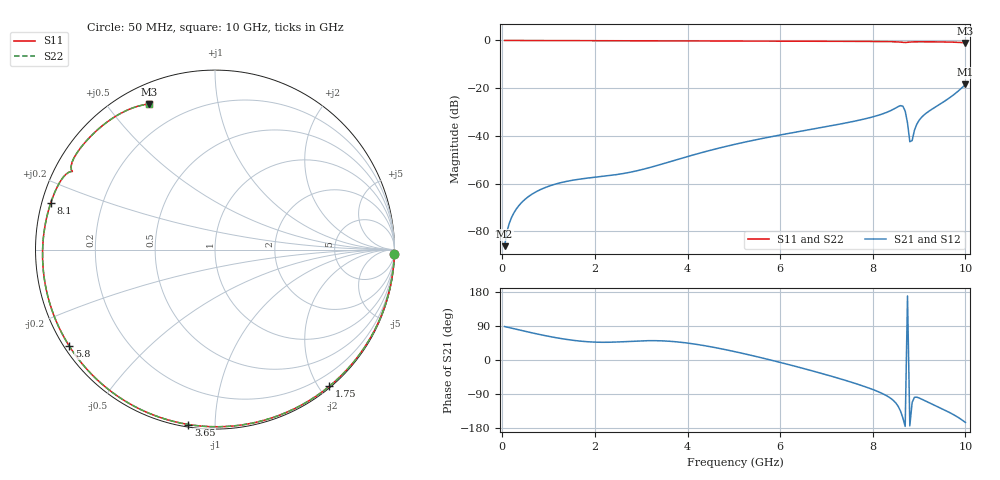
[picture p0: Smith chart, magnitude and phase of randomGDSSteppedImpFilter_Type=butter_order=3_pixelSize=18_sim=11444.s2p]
! freq	dB(S11)	phase(S11)	dB(S12)	phase(S12)
!  dB(S21)	phase(S21)	dB(S22)	phase(S22)
!S-par simulation data
#  GHz  S  DB  R 50
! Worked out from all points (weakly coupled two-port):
!   200 points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, 50 MHz to 10 GHz, reference 50 ohm
!   highest |S21| = -18.44 dB at 10 GHz (marker M1); lowest = -86.1 dB at 50 MHz (marker M2)
!   lowest |S11| = -1.0 dB at 10 GHz (marker M3), VSWR 17.31, Z = 4.08 + j32.1 ohm
!   |S11| at or under -10 dB: nowhere
!   |S22| runs from -1.0 to 0.0 dB; largest |S21 - S12| = 0
!   S11 on the Smith chart (normalised r, x): 50 MHz: 0, -77; 1.75 GHz: 0.02, -2.14; 3.65 GHz: 0.01, -0.86; 5.8 GHz: 0.01, -0.30; 8.1 GHz: 0.03, +0.14; 10 GHz: 0.08, +0.64
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0.05  -0.00 -1.5  -86.15 88.3  -86.15 88.3  -0.00 -1.5
0.1  -0.00 -3.0  -80.12 86.9  -80.12 86.9  -0.00 -3.0
0.3  -0.01 -8.8  -70.66 81.2  -70.66 81.2  -0.01 -8.8
0.6  -0.02 -17.6  -64.91 72.8  -64.91 72.8  -0.02 -17.6
1.1  -0.04 -31.9  -60.42 60.2  -60.42 60.2  -0.04 -31.9
1.75  -0.06 -50.1  -57.86 49.1  -57.86 49.1  -0.06 -50.1
2.55  -0.09 -71.4  -55.93 47.9  -55.93 47.9  -0.09 -71.4
3.4  -0.12 -92.7  -52.04 50.7  -52.04 50.7  -0.12 -92.6
3.65  -0.13 -98.6  -50.62 49.1  -50.62 49.1  -0.13 -98.6
5.05  -0.19 -130.4  -43.37 21.3  -43.37 21.3  -0.19 -130.4
5.8  -0.23 -146.5  -40.33 -0.2  -40.33 -0.2  -0.23 -146.5
6.7  -0.29 -165.5  -37.12 -28.9  -37.12 -28.9  -0.29 -165.5
8.1  -0.43 164.1  -31.45 -82.7  -31.45 -82.7  -0.43 164.1
8.35  -0.49 158.2  -29.71 -98.0  -29.71 -98.0  -0.49 158.3
8.65  -0.82 151.4  -27.53 -153.0  -27.53 -153.0  -0.82 151.5
8.7  -0.86 151.3  -29.56 -175.3  -29.56 -175.3  -0.86 151.3
8.75  -0.77 150.9  -34.52 168.9  -34.52 168.9  -0.76 151.0
8.8  -0.66 149.9  -42.40 -173.7  -42.40 -173.7  -0.66 149.9
8.85  -0.60 148.5  -41.93 -112.1  -41.93 -112.1  -0.60 148.6
8.95  -0.55 145.8  -35.09 -98.0  -35.09 -98.0  -0.55 145.9
9.05  -0.55 143.1  -32.27 -102.9  -32.27 -102.9  -0.54 143.2
10  -1.00 114.4  -18.44 -164.9  -18.44 -164.9  -1.00 114.5
